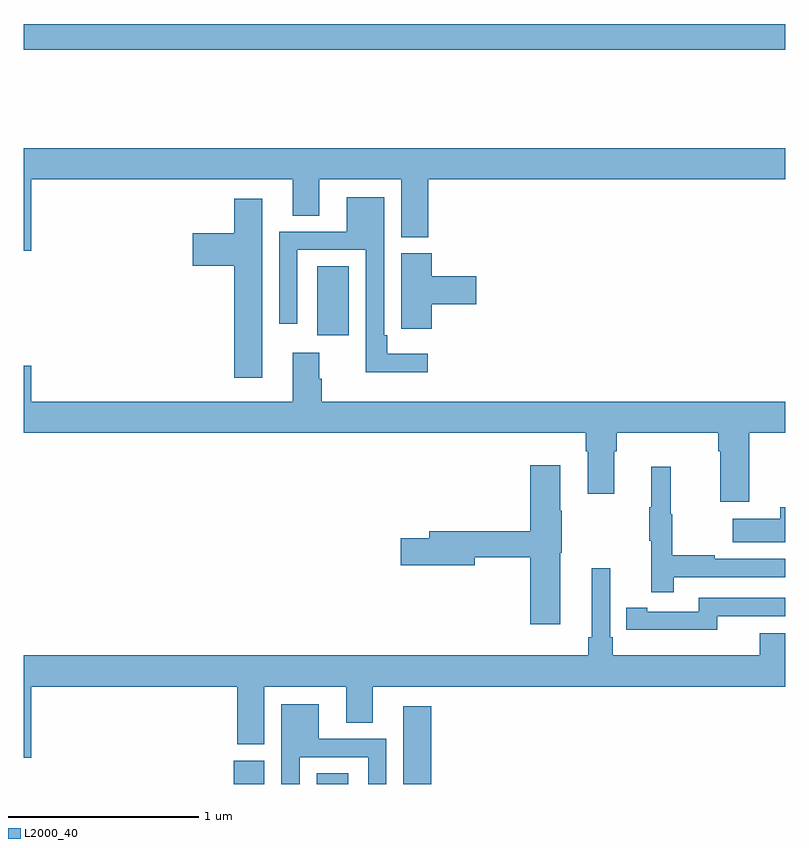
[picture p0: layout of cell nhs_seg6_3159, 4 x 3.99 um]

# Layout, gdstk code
import gdstk
lib = gdstk.Library(unit=1e-6, precision=1e-09)
def R(c, l, rs):  # rectangles x0, y0, x1, y1
    for r in rs: c.add(gdstk.rectangle(r[:2], r[2:], *l))
def P(c, l, *ps):  # polygons
    for p in ps: c.add(gdstk.Polygon(p, *l))
L2000_40 = (2000, 40)

nhs_seg6_3159 = lib.new_cell('nhs_seg6_3159')
R(nhs_seg6_3159, L2000_40, [(298.103,937.5,298.264,937.623), (298.538,937.5,298.705,937.556), (298.994,937.5,299.141,937.909), (298.541,939.858,298.708,940.22), (297,941.356,301,941.492)])
P(nhs_seg6_3159, L2000_40, [(297.04,940.676),(298.412,940.676),(298.412,940.486),(298.552,940.486),(298.552,940.676),(298.982,940.676),(298.982,940.372),(299.126,940.372),(299.126,940.676),(301,940.676),(301,940.84),(297,940.84),(297,940.302),(297.04,940.302)],
  [(299.122,939.76),(298.909,939.76),(298.909,939.856),(298.893,939.856),(298.893,940.582),(298.697,940.582),(298.697,940.401),(298.341,940.401),(298.341,939.918),(298.437,939.918),(298.437,940.305),(298.797,940.305),(298.797,939.662),(299.122,939.662)],
  [(298.252,940.573),(298.106,940.573),(298.106,940.393),(297.888,940.393),(297.888,940.223),(298.106,940.223),(298.106,939.633),(298.252,939.633)],
  [(299.144,940.019),(299.377,940.019),(299.377,940.166),(299.144,940.166),(299.144,940.287),(298.982,940.287),(298.982,940.003),(298.983,940.003),(298.983,939.891),(299.144,939.891)],
  [(300.812,939.344),(301,939.344),(301,939.508),(298.565,939.508),(298.565,939.629),(298.552,939.629),(298.552,939.766),(298.412,939.766),(298.412,939.508),(297.04,939.508),(297.04,939.697),(297,939.697),(297,939.344),(299.951,939.344),(299.951,939.248),(299.963,939.248),(299.963,939.024),(300.103,939.024),(300.103,939.248),(300.116,939.248),(300.116,939.344),(300.647,939.344),(300.647,939.248),(300.659,939.248),(300.659,938.982),(300.812,938.982)],
  [(299.818,938.715),(299.826,938.715),(299.826,938.936),(299.818,938.936),(299.818,939.175),(299.66,939.175),(299.66,938.828),(299.129,938.828),(299.129,938.792),(298.98,938.792),(298.98,938.65),(299.368,938.65),(299.368,938.692),(299.66,938.692),(299.66,938.34),(299.818,938.34)],
  [(300.413,938.586),(301,938.586),(301,938.682),(300.629,938.682),(300.629,938.702),(300.406,938.702),(300.406,938.916),(300.398,938.916),(300.398,939.166),(300.296,939.166),(300.296,938.953),(300.285,938.953),(300.285,938.779),(300.296,938.779),(300.296,938.508),(300.413,938.508)],
  [(301,938.953),(300.974,938.953),(300.974,938.893),(300.725,938.893),(300.725,938.771),(301,938.771)],
  [(297.04,938.012),(298.121,938.012),(298.121,937.708),(298.264,937.708),(298.264,938.012),(298.694,938.012),(298.694,937.822),(298.834,937.822),(298.834,938.012),(301,938.012),(301,938.293),(300.866,938.293),(300.866,938.176),(300.095,938.176),(300.095,938.272),(300.081,938.272),(300.081,938.632),(299.984,938.632),(299.984,938.272),(299.965,938.272),(299.965,938.176),(297,938.176),(297,937.638),(297.04,937.638)],
  [(300.642,938.382),(301,938.382),(301,938.478),(300.546,938.478),(300.546,938.406),(300.274,938.406),(300.274,938.426),(300.166,938.426),(300.166,938.31),(300.274,938.31),(300.274,938.309),(300.642,938.309)],
  [(298.449,937.641),(298.809,937.641),(298.809,937.5),(298.905,937.5),(298.905,937.737),(298.549,937.737),(298.549,937.918),(298.353,937.918),(298.353,937.5),(298.449,937.5)])

lib.write_gds('nhs_seg6_3159.gds')
